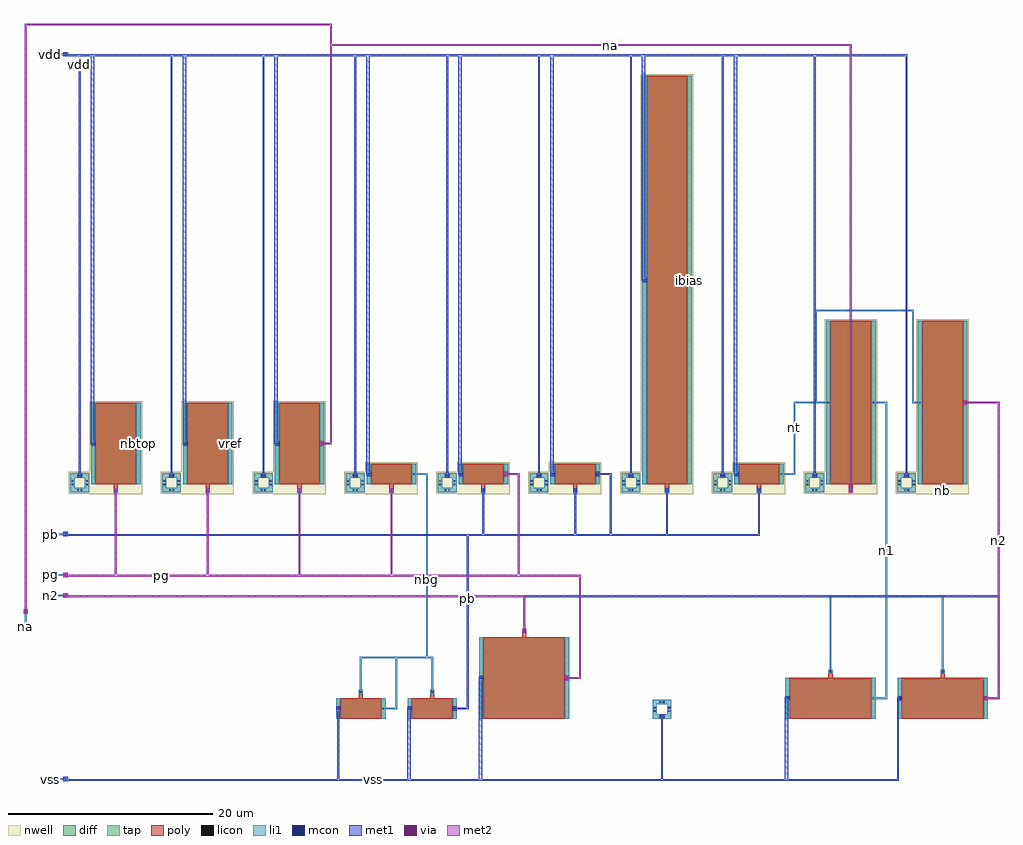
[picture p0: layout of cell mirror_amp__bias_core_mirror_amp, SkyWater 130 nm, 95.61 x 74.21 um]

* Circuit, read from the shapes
.subckt mirror_amp__bias_core_mirror_amp ibias n1 n2 na nb nbg nbtop nt pb pg vdd vref vss
XM1 nbg nbg vss vss sky130_fd_pr__nfet_01v8 w=2 l=4
XM2 pb nbg vss vss sky130_fd_pr__nfet_01v8 w=2 l=4
XM3 pg n2 vss vss sky130_fd_pr__nfet_01v8 w=8 l=8
XM4 n1 n1 vss vss sky130_fd_pr__nfet_01v8 w=4 l=8
XM5 n2 n1 vss vss sky130_fd_pr__nfet_01v8 w=4 l=8
XM6 nbtop pg vdd vdd sky130_fd_pr__pfet_01v8 w=8 l=4
XM7 vref pg vdd vdd sky130_fd_pr__pfet_01v8 w=8 l=4
XM8 na pg vdd vdd sky130_fd_pr__pfet_01v8 w=8 l=4
XM9 nbg pg vdd vdd sky130_fd_pr__pfet_01v8 w=2 l=4
XM10 pg pb vdd vdd sky130_fd_pr__pfet_01v8 w=2 l=4
XM11 pb pb vdd vdd sky130_fd_pr__pfet_01v8 w=2 l=4
XM12 ibias pb vdd vdd sky130_fd_pr__pfet_01v8 w=40 l=4
XM13 nt pb vdd vdd sky130_fd_pr__pfet_01v8 w=2 l=4
XM14 n1 na nt vdd sky130_fd_pr__pfet_01v8 w=16 l=4
XM15 n2 nb nt vdd sky130_fd_pr__pfet_01v8 w=16 l=4
.ends

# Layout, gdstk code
import gdstk
lib = gdstk.Library(unit=1e-6, precision=1e-09)
def R(c, l, rs):  # rectangles x0, y0, x1, y1
    for r in rs: c.add(gdstk.rectangle(r[:2], r[2:], *l))
def A(c, l, x, y, w, h, nx, ny, dx, dy):  # array of equal rectangles
    R(c, l, [(x+i*dx, y+j*dy, x+i*dx+w, y+j*dy+h) for i in range(nx) for j in range(ny)])
def P(c, l, *ps):  # polygons
    for p in ps: c.add(gdstk.Polygon(p, *l))
nwell = (64, 20)
diff = (65, 20)
tap = (65, 44)
poly = (66, 20)
licon = (66, 44)
li1 = (67, 20)
mcon = (67, 44)
met1 = (68, 20)
via = (68, 44)
met2 = (69, 20)

stub_na__promo_stub_v = lib.new_cell('stub_na__promo_stub_v')
R(stub_na__promo_stub_v, li1, [(0,0,0.17,1.5)])

stub_n2__promo_stub = lib.new_cell('stub_n2__promo_stub')
R(stub_n2__promo_stub, li1, [(0,0,1.5,0.17)])

stub_pb__promo_stub = lib.new_cell('stub_pb__promo_stub')
R(stub_pb__promo_stub, li1, [(0,0,1.5,0.17)])

stub_pg__promo_stub = lib.new_cell('stub_pg__promo_stub')
R(stub_pg__promo_stub, li1, [(0,0,1.5,0.17)])

stub_vss__promo_stub = lib.new_cell('stub_vss__promo_stub')
R(stub_vss__promo_stub, li1, [(0,0,1.5,0.17)])

stub_vdd__promo_stub = lib.new_cell('stub_vdd__promo_stub')
R(stub_vdd__promo_stub, li1, [(0,0,1.5,0.17)])

guard_ring_10 = lib.new_cell('guard_ring$10')
P(guard_ring_10, tap, [(0,0),(0,1.42),(0.42,1.42),(0.42,0.42),(1.42,0.42),(1.42,1.42),(0,1.42),(0,1.84),(1.84,1.84),(1.84,0)])
R(guard_ring_10, licon, [(0.67,0.125,0.84,0.295), (1,0.125,1.17,0.295), (0.125,0.67,0.295,0.84), (1.545,0.67,1.715,0.84), (0.125,1,0.295,1.17), (1.545,1,1.715,1.17), (0.67,1.545,0.84,1.715), (1,1.545,1.17,1.715)])
P(guard_ring_10, li1, [(0,0),(0,1.42),(0.42,1.42),(0.42,0.42),(1.42,0.42),(1.42,1.42),(0,1.42),(0,1.84),(1.84,1.84),(1.84,0)])

pst__pst = lib.new_cell('pst__pst')
pst__pst.add(gdstk.Reference(guard_ring_10, (0,0)))

guard_ring_9 = lib.new_cell('guard_ring$9')
R(guard_ring_9, nwell, [(-0.15,-0.15,1.99,1.99)])
P(guard_ring_9, tap, [(0,0),(0,1.42),(0.42,1.42),(0.42,0.42),(1.42,0.42),(1.42,1.42),(0,1.42),(0,1.84),(1.84,1.84),(1.84,0)])
R(guard_ring_9, licon, [(0.67,0.125,0.84,0.295), (1,0.125,1.17,0.295), (0.125,0.67,0.295,0.84), (1.545,0.67,1.715,0.84), (0.125,1,0.295,1.17), (1.545,1,1.715,1.17), (0.67,1.545,0.84,1.715), (1,1.545,1.17,1.715)])
P(guard_ring_9, li1, [(0,0),(0,1.42),(0.42,1.42),(0.42,0.42),(1.42,0.42),(1.42,1.42),(0,1.42),(0,1.84),(1.84,1.84),(1.84,0)])

nwt_mi2__nwt_mi2 = lib.new_cell('nwt_mi2__nwt_mi2')
nwt_mi2__nwt_mi2.add(gdstk.Reference(guard_ring_9, (0,0)))

guard_ring_8 = lib.new_cell('guard_ring$8')
R(guard_ring_8, nwell, [(-0.15,-0.15,1.99,1.99)])
P(guard_ring_8, tap, [(0,0),(0,1.42),(0.42,1.42),(0.42,0.42),(1.42,0.42),(1.42,1.42),(0,1.42),(0,1.84),(1.84,1.84),(1.84,0)])
R(guard_ring_8, licon, [(0.67,0.125,0.84,0.295), (1,0.125,1.17,0.295), (0.125,0.67,0.295,0.84), (1.545,0.67,1.715,0.84), (0.125,1,0.295,1.17), (1.545,1,1.715,1.17), (0.67,1.545,0.84,1.715), (1,1.545,1.17,1.715)])
P(guard_ring_8, li1, [(0,0),(0,1.42),(0.42,1.42),(0.42,0.42),(1.42,0.42),(1.42,1.42),(0,1.42),(0,1.84),(1.84,1.84),(1.84,0)])

nwt_mi1__nwt_mi1 = lib.new_cell('nwt_mi1__nwt_mi1')
nwt_mi1__nwt_mi1.add(gdstk.Reference(guard_ring_8, (0,0)))

guard_ring_7 = lib.new_cell('guard_ring$7')
R(guard_ring_7, nwell, [(-0.15,-0.15,1.99,1.99)])
P(guard_ring_7, tap, [(0,0),(0,1.42),(0.42,1.42),(0.42,0.42),(1.42,0.42),(1.42,1.42),(0,1.42),(0,1.84),(1.84,1.84),(1.84,0)])
R(guard_ring_7, licon, [(0.67,0.125,0.84,0.295), (1,0.125,1.17,0.295), (0.125,0.67,0.295,0.84), (1.545,0.67,1.715,0.84), (0.125,1,0.295,1.17), (1.545,1,1.715,1.17), (0.67,1.545,0.84,1.715), (1,1.545,1.17,1.715)])
P(guard_ring_7, li1, [(0,0),(0,1.42),(0.42,1.42),(0.42,0.42),(1.42,0.42),(1.42,1.42),(0,1.42),(0,1.84),(1.84,1.84),(1.84,0)])

nwt_mpt__nwt_mpt = lib.new_cell('nwt_mpt__nwt_mpt')
nwt_mpt__nwt_mpt.add(gdstk.Reference(guard_ring_7, (0,0)))

guard_ring_6 = lib.new_cell('guard_ring$6')
R(guard_ring_6, nwell, [(-0.15,-0.15,1.99,1.99)])
P(guard_ring_6, tap, [(0,0),(0,1.42),(0.42,1.42),(0.42,0.42),(1.42,0.42),(1.42,1.42),(0,1.42),(0,1.84),(1.84,1.84),(1.84,0)])
R(guard_ring_6, licon, [(0.67,0.125,0.84,0.295), (1,0.125,1.17,0.295), (0.125,0.67,0.295,0.84), (1.545,0.67,1.715,0.84), (0.125,1,0.295,1.17), (1.545,1,1.715,1.17), (0.67,1.545,0.84,1.715), (1,1.545,1.17,1.715)])
P(guard_ring_6, li1, [(0,0),(0,1.42),(0.42,1.42),(0.42,0.42),(1.42,0.42),(1.42,1.42),(0,1.42),(0,1.84),(1.84,1.84),(1.84,0)])

nwt_mpib__nwt_mpib = lib.new_cell('nwt_mpib__nwt_mpib')
nwt_mpib__nwt_mpib.add(gdstk.Reference(guard_ring_6, (0,0)))

guard_ring_5 = lib.new_cell('guard_ring$5')
R(guard_ring_5, nwell, [(-0.15,-0.15,1.99,1.99)])
P(guard_ring_5, tap, [(0,0),(0,1.42),(0.42,1.42),(0.42,0.42),(1.42,0.42),(1.42,1.42),(0,1.42),(0,1.84),(1.84,1.84),(1.84,0)])
R(guard_ring_5, licon, [(0.67,0.125,0.84,0.295), (1,0.125,1.17,0.295), (0.125,0.67,0.295,0.84), (1.545,0.67,1.715,0.84), (0.125,1,0.295,1.17), (1.545,1,1.715,1.17), (0.67,1.545,0.84,1.715), (1,1.545,1.17,1.715)])
P(guard_ring_5, li1, [(0,0),(0,1.42),(0.42,1.42),(0.42,0.42),(1.42,0.42),(1.42,1.42),(0,1.42),(0,1.84),(1.84,1.84),(1.84,0)])

nwt_mbp__nwt_mbp = lib.new_cell('nwt_mbp__nwt_mbp')
nwt_mbp__nwt_mbp.add(gdstk.Reference(guard_ring_5, (0,0)))

guard_ring_4 = lib.new_cell('guard_ring$4')
R(guard_ring_4, nwell, [(-0.15,-0.15,1.99,1.99)])
P(guard_ring_4, tap, [(0,0),(0,1.42),(0.42,1.42),(0.42,0.42),(1.42,0.42),(1.42,1.42),(0,1.42),(0,1.84),(1.84,1.84),(1.84,0)])
R(guard_ring_4, licon, [(0.67,0.125,0.84,0.295), (1,0.125,1.17,0.295), (0.125,0.67,0.295,0.84), (1.545,0.67,1.715,0.84), (0.125,1,0.295,1.17), (1.545,1,1.715,1.17), (0.67,1.545,0.84,1.715), (1,1.545,1.17,1.715)])
P(guard_ring_4, li1, [(0,0),(0,1.42),(0.42,1.42),(0.42,0.42),(1.42,0.42),(1.42,1.42),(0,1.42),(0,1.84),(1.84,1.84),(1.84,0)])

nwt_ms2p__nwt_ms2p = lib.new_cell('nwt_ms2p__nwt_ms2p')
nwt_ms2p__nwt_ms2p.add(gdstk.Reference(guard_ring_4, (0,0)))

guard_ring_3 = lib.new_cell('guard_ring$3')
R(guard_ring_3, nwell, [(-0.15,-0.15,1.99,1.99)])
P(guard_ring_3, tap, [(0,0),(0,1.42),(0.42,1.42),(0.42,0.42),(1.42,0.42),(1.42,1.42),(0,1.42),(0,1.84),(1.84,1.84),(1.84,0)])
R(guard_ring_3, licon, [(0.67,0.125,0.84,0.295), (1,0.125,1.17,0.295), (0.125,0.67,0.295,0.84), (1.545,0.67,1.715,0.84), (0.125,1,0.295,1.17), (1.545,1,1.715,1.17), (0.67,1.545,0.84,1.715), (1,1.545,1.17,1.715)])
P(guard_ring_3, li1, [(0,0),(0,1.42),(0.42,1.42),(0.42,0.42),(1.42,0.42),(1.42,1.42),(0,1.42),(0,1.84),(1.84,1.84),(1.84,0)])

nwt_mpbn__nwt_mpbn = lib.new_cell('nwt_mpbn__nwt_mpbn')
nwt_mpbn__nwt_mpbn.add(gdstk.Reference(guard_ring_3, (0,0)))

guard_ring_2 = lib.new_cell('guard_ring$2')
R(guard_ring_2, nwell, [(-0.15,-0.15,1.99,1.99)])
P(guard_ring_2, tap, [(0,0),(0,1.42),(0.42,1.42),(0.42,0.42),(1.42,0.42),(1.42,1.42),(0,1.42),(0,1.84),(1.84,1.84),(1.84,0)])
R(guard_ring_2, licon, [(0.67,0.125,0.84,0.295), (1,0.125,1.17,0.295), (0.125,0.67,0.295,0.84), (1.545,0.67,1.715,0.84), (0.125,1,0.295,1.17), (1.545,1,1.715,1.17), (0.67,1.545,0.84,1.715), (1,1.545,1.17,1.715)])
P(guard_ring_2, li1, [(0,0),(0,1.42),(0.42,1.42),(0.42,0.42),(1.42,0.42),(1.42,1.42),(0,1.42),(0,1.84),(1.84,1.84),(1.84,0)])

nwt_mp1__nwt_mp1 = lib.new_cell('nwt_mp1__nwt_mp1')
nwt_mp1__nwt_mp1.add(gdstk.Reference(guard_ring_2, (0,0)))

guard_ring_1 = lib.new_cell('guard_ring$1')
R(guard_ring_1, nwell, [(-0.15,-0.15,1.99,1.99)])
P(guard_ring_1, tap, [(0,0),(0,1.42),(0.42,1.42),(0.42,0.42),(1.42,0.42),(1.42,1.42),(0,1.42),(0,1.84),(1.84,1.84),(1.84,0)])
R(guard_ring_1, licon, [(0.67,0.125,0.84,0.295), (1,0.125,1.17,0.295), (0.125,0.67,0.295,0.84), (1.545,0.67,1.715,0.84), (0.125,1,0.295,1.17), (1.545,1,1.715,1.17), (0.67,1.545,0.84,1.715), (1,1.545,1.17,1.715)])
P(guard_ring_1, li1, [(0,0),(0,1.42),(0.42,1.42),(0.42,0.42),(1.42,0.42),(1.42,1.42),(0,1.42),(0,1.84),(1.84,1.84),(1.84,0)])

nwt_mp3__nwt_mp3 = lib.new_cell('nwt_mp3__nwt_mp3')
nwt_mp3__nwt_mp3.add(gdstk.Reference(guard_ring_1, (0,0)))

guard_ring = lib.new_cell('guard_ring')
R(guard_ring, nwell, [(-0.15,-0.15,1.99,1.99)])
P(guard_ring, tap, [(0,0),(0,1.42),(0.42,1.42),(0.42,0.42),(1.42,0.42),(1.42,1.42),(0,1.42),(0,1.84),(1.84,1.84),(1.84,0)])
R(guard_ring, licon, [(0.67,0.125,0.84,0.295), (1,0.125,1.17,0.295), (0.125,0.67,0.295,0.84), (1.545,0.67,1.715,0.84), (0.125,1,0.295,1.17), (1.545,1,1.715,1.17), (0.67,1.545,0.84,1.715), (1,1.545,1.17,1.715)])
P(guard_ring, li1, [(0,0),(0,1.42),(0.42,1.42),(0.42,0.42),(1.42,0.42),(1.42,1.42),(0,1.42),(0,1.84),(1.84,1.84),(1.84,0)])

nwt_mp2__nwt_mp2 = lib.new_cell('nwt_mp2__nwt_mp2')
nwt_mp2__nwt_mp2.add(gdstk.Reference(guard_ring, (0,0)))

mos_array_14 = lib.new_cell('mos_array$14')
R(mos_array_14, diff, [(0,0,8.84,4)])
R(mos_array_14, poly, [(0.42,0,8.42,4), (4.21,4,4.63,4.82)])
R(mos_array_14, licon, [(0.125,1.915,0.295,2.085), (8.545,1.915,8.715,2.085), (4.335,4.525,4.505,4.695)])
R(mos_array_14, li1, [(0,0,0.42,4), (8.42,0,8.84,4), (4.21,4.4,4.63,4.82)])

ml2__ml2_nfet = lib.new_cell('ml2__ml2_nfet')
ml2__ml2_nfet.add(gdstk.Reference(mos_array_14, (0,0)))

mos_array_13 = lib.new_cell('mos_array$13')
R(mos_array_13, diff, [(0,0,8.84,4)])
R(mos_array_13, poly, [(0.42,0,8.42,4), (4.21,4,4.63,4.82)])
R(mos_array_13, licon, [(0.125,1.915,0.295,2.085), (8.545,1.915,8.715,2.085), (4.335,4.525,4.505,4.695)])
R(mos_array_13, li1, [(0,0,0.42,4), (8.42,0,8.84,4), (4.21,4.4,4.63,4.82)])

ml1__ml1_nfet = lib.new_cell('ml1__ml1_nfet')
ml1__ml1_nfet.add(gdstk.Reference(mos_array_13, (0,0)))

mos_array_12 = lib.new_cell('mos_array$12')
R(mos_array_12, diff, [(0,0,8.84,8)])
R(mos_array_12, poly, [(0.42,0,8.42,8), (4.21,8,4.63,8.82)])
R(mos_array_12, licon, [(0.125,3.915,0.295,4.085), (8.545,3.915,8.715,4.085), (4.335,8.525,4.505,8.695)])
R(mos_array_12, li1, [(0,0,0.42,8), (8.42,0,8.84,8), (4.21,8.4,4.63,8.82)])

ms2n__ms2n_nfet = lib.new_cell('ms2n__ms2n_nfet')
ms2n__ms2n_nfet.add(gdstk.Reference(mos_array_12, (0,0)))

mos_array_11 = lib.new_cell('mos_array$11')
R(mos_array_11, diff, [(0,0,4.84,2)])
R(mos_array_11, poly, [(0.42,0,4.42,2), (2.21,2,2.63,2.82)])
R(mos_array_11, licon, [(0.125,0.915,0.295,1.085), (4.545,0.915,4.715,1.085), (2.335,2.525,2.505,2.695)])
R(mos_array_11, li1, [(0,0,0.42,2), (4.42,0,4.84,2), (2.21,2.4,2.63,2.82)])

mbn2__mbn2_nfet = lib.new_cell('mbn2__mbn2_nfet')
mbn2__mbn2_nfet.add(gdstk.Reference(mos_array_11, (0,0)))

mos_array_10 = lib.new_cell('mos_array$10')
R(mos_array_10, diff, [(0,0,4.84,2)])
R(mos_array_10, poly, [(0.42,0,4.42,2), (2.21,2,2.63,2.82)])
R(mos_array_10, licon, [(0.125,0.915,0.295,1.085), (4.545,0.915,4.715,1.085), (2.335,2.525,2.505,2.695)])
R(mos_array_10, li1, [(0,0,0.42,2), (4.42,0,4.84,2), (2.21,2.4,2.63,2.82)])

mbn__mbn_nfet = lib.new_cell('mbn__mbn_nfet')
mbn__mbn_nfet.add(gdstk.Reference(mos_array_10, (0,0)))

mos_array_9 = lib.new_cell('mos_array$9')
R(mos_array_9, nwell, [(-0.15,-0.15,4.99,16.97)])
R(mos_array_9, diff, [(0,0,4.84,16)])
R(mos_array_9, poly, [(0.42,0,4.42,16), (2.21,16,2.63,16.82)])
R(mos_array_9, licon, [(0.125,7.915,0.295,8.085), (4.545,7.915,4.715,8.085), (2.335,16.525,2.505,16.695)])
R(mos_array_9, li1, [(0,0,0.42,16), (4.42,0,4.84,16), (2.21,16.4,2.63,16.82)])

mi2__mi2_pfet = lib.new_cell('mi2__mi2_pfet')
mi2__mi2_pfet.add(gdstk.Reference(mos_array_9, (0,0)))

mos_array_8 = lib.new_cell('mos_array$8')
R(mos_array_8, nwell, [(-0.15,-0.15,4.99,16.97)])
R(mos_array_8, diff, [(0,0,4.84,16)])
R(mos_array_8, poly, [(0.42,0,4.42,16), (2.21,16,2.63,16.82)])
R(mos_array_8, licon, [(0.125,7.915,0.295,8.085), (4.545,7.915,4.715,8.085), (2.335,16.525,2.505,16.695)])
R(mos_array_8, li1, [(0,0,0.42,16), (4.42,0,4.84,16), (2.21,16.4,2.63,16.82)])

mi1__mi1_pfet = lib.new_cell('mi1__mi1_pfet')
mi1__mi1_pfet.add(gdstk.Reference(mos_array_8, (0,0)))

mos_array_7 = lib.new_cell('mos_array$7')
R(mos_array_7, nwell, [(-0.15,-0.15,4.99,2.97)])
R(mos_array_7, diff, [(0,0,4.84,2)])
R(mos_array_7, poly, [(0.42,0,4.42,2), (2.21,2,2.63,2.82)])
R(mos_array_7, licon, [(0.125,0.915,0.295,1.085), (4.545,0.915,4.715,1.085), (2.335,2.525,2.505,2.695)])
R(mos_array_7, li1, [(0,0,0.42,2), (4.42,0,4.84,2), (2.21,2.4,2.63,2.82)])

mpt__mpt_pfet = lib.new_cell('mpt__mpt_pfet')
mpt__mpt_pfet.add(gdstk.Reference(mos_array_7, (0,0)))

mos_array_6 = lib.new_cell('mos_array$6')
R(mos_array_6, nwell, [(-0.15,-0.15,4.99,40.97)])
R(mos_array_6, diff, [(0,0,4.84,40)])
R(mos_array_6, poly, [(0.42,0,4.42,40), (2.21,40,2.63,40.82)])
R(mos_array_6, licon, [(0.125,19.915,0.295,20.085), (4.545,19.915,4.715,20.085), (2.335,40.525,2.505,40.695)])
R(mos_array_6, li1, [(0,0,0.42,40), (4.42,0,4.84,40), (2.21,40.4,2.63,40.82)])

mpib__mpib_pfet = lib.new_cell('mpib__mpib_pfet')
mpib__mpib_pfet.add(gdstk.Reference(mos_array_6, (0,0)))

mos_array_5 = lib.new_cell('mos_array$5')
R(mos_array_5, nwell, [(-0.15,-0.15,4.99,2.97)])
R(mos_array_5, diff, [(0,0,4.84,2)])
R(mos_array_5, poly, [(0.42,0,4.42,2), (2.21,2,2.63,2.82)])
R(mos_array_5, licon, [(0.125,0.915,0.295,1.085), (4.545,0.915,4.715,1.085), (2.335,2.525,2.505,2.695)])
R(mos_array_5, li1, [(0,0,0.42,2), (4.42,0,4.84,2), (2.21,2.4,2.63,2.82)])

mbp__mbp_pfet = lib.new_cell('mbp__mbp_pfet')
mbp__mbp_pfet.add(gdstk.Reference(mos_array_5, (0,0)))

mos_array_4 = lib.new_cell('mos_array$4')
R(mos_array_4, nwell, [(-0.15,-0.15,4.99,2.97)])
R(mos_array_4, diff, [(0,0,4.84,2)])
R(mos_array_4, poly, [(0.42,0,4.42,2), (2.21,2,2.63,2.82)])
R(mos_array_4, licon, [(0.125,0.915,0.295,1.085), (4.545,0.915,4.715,1.085), (2.335,2.525,2.505,2.695)])
R(mos_array_4, li1, [(0,0,0.42,2), (4.42,0,4.84,2), (2.21,2.4,2.63,2.82)])

ms2p__ms2p_pfet = lib.new_cell('ms2p__ms2p_pfet')
ms2p__ms2p_pfet.add(gdstk.Reference(mos_array_4, (0,0)))

mos_array_3 = lib.new_cell('mos_array$3')
R(mos_array_3, nwell, [(-0.15,-0.15,4.99,2.97)])
R(mos_array_3, diff, [(0,0,4.84,2)])
R(mos_array_3, poly, [(0.42,0,4.42,2), (2.21,2,2.63,2.82)])
R(mos_array_3, licon, [(0.125,0.915,0.295,1.085), (4.545,0.915,4.715,1.085), (2.335,2.525,2.505,2.695)])
R(mos_array_3, li1, [(0,0,0.42,2), (4.42,0,4.84,2), (2.21,2.4,2.63,2.82)])

mpbn__mpbn_pfet = lib.new_cell('mpbn__mpbn_pfet')
mpbn__mpbn_pfet.add(gdstk.Reference(mos_array_3, (0,0)))

mos_array_2 = lib.new_cell('mos_array$2')
R(mos_array_2, nwell, [(-0.15,-0.15,4.99,8.97)])
R(mos_array_2, diff, [(0,0,4.84,8)])
R(mos_array_2, poly, [(0.42,0,4.42,8), (2.21,8,2.63,8.82)])
R(mos_array_2, licon, [(0.125,3.915,0.295,4.085), (4.545,3.915,4.715,4.085), (2.335,8.525,2.505,8.695)])
R(mos_array_2, li1, [(0,0,0.42,8), (4.42,0,4.84,8), (2.21,8.4,2.63,8.82)])

mp1__mp1_pfet = lib.new_cell('mp1__mp1_pfet')
mp1__mp1_pfet.add(gdstk.Reference(mos_array_2, (0,0)))

mos_array_1 = lib.new_cell('mos_array$1')
R(mos_array_1, nwell, [(-0.15,-0.15,4.99,8.97)])
R(mos_array_1, diff, [(0,0,4.84,8)])
R(mos_array_1, poly, [(0.42,0,4.42,8), (2.21,8,2.63,8.82)])
R(mos_array_1, licon, [(0.125,3.915,0.295,4.085), (4.545,3.915,4.715,4.085), (2.335,8.525,2.505,8.695)])
R(mos_array_1, li1, [(0,0,0.42,8), (4.42,0,4.84,8), (2.21,8.4,2.63,8.82)])

mp3__mp3_pfet = lib.new_cell('mp3__mp3_pfet')
mp3__mp3_pfet.add(gdstk.Reference(mos_array_1, (0,0)))

mos_array = lib.new_cell('mos_array')
R(mos_array, nwell, [(-0.15,-0.15,4.99,8.97)])
R(mos_array, diff, [(0,0,4.84,8)])
R(mos_array, poly, [(0.42,0,4.42,8), (2.21,8,2.63,8.82)])
R(mos_array, licon, [(0.125,3.915,0.295,4.085), (4.545,3.915,4.715,4.085), (2.335,8.525,2.505,8.695)])
R(mos_array, li1, [(0,0,0.42,8), (4.42,0,4.84,8), (2.21,8.4,2.63,8.82)])

mp2__mp2_pfet = lib.new_cell('mp2__mp2_pfet')
mp2__mp2_pfet.add(gdstk.Reference(mos_array, (0,0)))

mirror_amp__bias_core_mi = lib.new_cell('mirror_amp__bias_core_mirror_amp')
A(mirror_amp__bias_core_mi, li1, 56.21, 22.15, 0.42, 0.42, 3, 1, 9, 0)
R(mirror_amp__bias_core_mi, li1, [(-2.71,-6.125,-2.29,-5.705), (55.71,0,56.13,0.42), (55.71,0,56.13,0.42), (24,0.79,24.42,1.21), (24,0.79,24.42,1.21), (31,0.79,31.42,1.21), (31,0.79,31.42,1.21), (35.42,0.79,35.84,1.21), (35.42,0.79,35.84,1.21), (68,1.79,68.42,2.21), (68,1.79,68.42,2.21), (79,1.79,79.42,2.21), (87.42,1.79,87.84,2.21), (87.42,1.79,87.84,2.21), (26.21,2.61,26.63,2.78), (26.21,2.61,26.63,2.78), (33.21,2.61,33.63,2.78), (33.21,2.61,33.63,2.78), (38,3.79,38.42,4.21), (38,3.79,38.42,4.21), (46.42,3.79,46.84,4.21), (72.21,4.61,72.63,4.78), (72.21,4.61,72.63,4.78), (83.21,4.61,83.63,4.78), (42.21,8.4,42.63,8.82), (42.21,8.4,42.63,8.82), (-6.625,10.29,-6.205,10.71), (-2.71,11.875,-2.29,12.295), (-2.71,13.875,-2.29,14.295), (-2.71,17.875,-2.29,18.295), (2.21,22.15,2.63,22.57), (2.21,22.15,2.63,22.57), (11.21,22.15,11.63,22.57), (11.21,22.15,11.63,22.57), (20.21,22.15,20.63,22.57), (20.21,22.15,20.63,22.57), (29.21,22.15,29.63,22.57), (29.21,22.15,29.63,22.57), (29.21,22.15,29.63,22.57), (38.21,22.15,38.63,22.57), (38.21,22.15,38.63,22.57), (47.21,22.15,47.63,22.57), (47.21,22.15,47.63,22.57), (47.21,22.15,47.63,22.57), (56.21,22.15,56.63,22.57), (-1.33,23.62,-0.91,24.04), (-1.33,23.62,-0.91,24.04), (7.67,23.62,8.09,24.04), (7.67,23.62,8.09,24.04), (16.67,23.62,17.09,24.04), (16.67,23.62,17.09,24.04), (25.67,23.62,26.09,24.04), (25.67,23.62,26.09,24.04), (34.67,23.62,35.09,24.04), (34.67,23.62,35.09,24.04), (43.67,23.62,44.09,24.04), (43.67,23.62,44.09,24.04), (52.67,23.62,53.09,24.04), (52.67,23.62,53.09,24.04), (61.67,23.62,62.09,24.04), (61.67,23.62,62.09,24.04), (70.67,23.62,71.09,24.04), (70.67,23.62,71.09,24.04), (79.67,23.62,80.09,24.04), (27,23.76,27.42,24.18), (27,23.76,27.42,24.18), (36,23.76,36.42,24.18), (36,23.76,36.42,24.18), (40.42,23.76,40.84,24.18), (45,23.76,45.42,24.18), (45,23.76,45.42,24.18), (49.42,23.76,49.84,24.18), (63,23.76,63.42,24.18), (63,23.76,63.42,24.18), (0,26.76,0.42,27.18), (0,26.76,0.42,27.18), (9,26.76,9.42,27.18), (9,26.76,9.42,27.18), (18,26.76,18.42,27.18), (18,26.76,18.42,27.18), (22.42,26.76,22.84,27.18), (22.42,26.76,22.84,27.18), (85.42,30.76,85.84,31.18), (54,42.76,54.42,43.18), (54,42.76,54.42,43.18), (-2.71,64.875,-2.29,65.295)])
A(mirror_amp__bias_core_mi, mcon, 56.335, 22.275, 0.17, 0.17, 3, 1, 9, 0)
R(mirror_amp__bias_core_mi, mcon, [(-2.585,-6,-2.415,-5.83), (55.835,0.125,56.005,0.295), (55.835,0.125,56.005,0.295), (24.125,0.915,24.295,1.085), (24.125,0.915,24.295,1.085), (31.125,0.915,31.295,1.085), (31.125,0.915,31.295,1.085), (35.545,0.915,35.715,1.085), (35.545,0.915,35.715,1.085), (68.125,1.915,68.295,2.085), (68.125,1.915,68.295,2.085), (79.125,1.915,79.295,2.085), (87.545,1.915,87.715,2.085), (87.545,1.915,87.715,2.085), (38.125,3.915,38.295,4.085), (38.125,3.915,38.295,4.085), (46.545,3.915,46.715,4.085), (42.335,8.525,42.505,8.695), (42.335,8.525,42.505,8.695), (-6.5,10.415,-6.33,10.585), (-2.585,12,-2.415,12.17), (-2.585,14,-2.415,14.17), (-2.585,18,-2.415,18.17), (2.335,22.275,2.505,22.445), (2.335,22.275,2.505,22.445), (11.335,22.275,11.505,22.445), (11.335,22.275,11.505,22.445), (20.335,22.275,20.505,22.445), (20.335,22.275,20.505,22.445), (29.335,22.275,29.505,22.445), (29.335,22.275,29.505,22.445), (29.335,22.275,29.505,22.445), (38.335,22.275,38.505,22.445), (38.335,22.275,38.505,22.445), (47.335,22.275,47.505,22.445), (47.335,22.275,47.505,22.445), (47.335,22.275,47.505,22.445), (56.335,22.275,56.505,22.445), (-1.205,23.745,-1.035,23.915), (-1.205,23.745,-1.035,23.915), (7.795,23.745,7.965,23.915), (7.795,23.745,7.965,23.915), (16.795,23.745,16.965,23.915), (16.795,23.745,16.965,23.915), (25.795,23.745,25.965,23.915), (25.795,23.745,25.965,23.915), (34.795,23.745,34.965,23.915), (34.795,23.745,34.965,23.915), (43.795,23.745,43.965,23.915), (43.795,23.745,43.965,23.915), (52.795,23.745,52.965,23.915), (52.795,23.745,52.965,23.915), (61.795,23.745,61.965,23.915), (61.795,23.745,61.965,23.915), (70.795,23.745,70.965,23.915), (70.795,23.745,70.965,23.915), (79.795,23.745,79.965,23.915), (27.125,23.885,27.295,24.055), (27.125,23.885,27.295,24.055), (36.125,23.885,36.295,24.055), (36.125,23.885,36.295,24.055), (40.545,23.885,40.715,24.055), (45.125,23.885,45.295,24.055), (45.125,23.885,45.295,24.055), (49.545,23.885,49.715,24.055), (63.125,23.885,63.295,24.055), (63.125,23.885,63.295,24.055), (0.125,26.885,0.295,27.055), (0.125,26.885,0.295,27.055), (9.125,26.885,9.295,27.055), (9.125,26.885,9.295,27.055), (18.125,26.885,18.295,27.055), (18.125,26.885,18.295,27.055), (22.545,26.885,22.715,27.055), (22.545,26.885,22.715,27.055), (85.545,30.885,85.715,31.055), (54.125,42.885,54.295,43.055), (54.125,42.885,54.295,43.055), (-2.585,65,-2.415,65.17)])
A(mirror_amp__bias_core_mi, met1, 56.21, 22.15, 0.42, 0.42, 3, 1, 9, 0)
R(mirror_amp__bias_core_mi, met1, [(-2.71,-6.125,-2.29,-5.705), (55.71,0,56.13,0.42), (55.71,0,56.13,0.42), (24,0.79,24.42,1.21), (24,0.79,24.42,1.21), (31,0.79,31.42,1.21), (31,0.79,31.42,1.21), (35.42,0.79,35.84,1.21), (35.42,0.79,35.84,1.21), (68,1.79,68.42,2.21), (68,1.79,68.42,2.21), (79,1.79,79.42,2.21), (87.42,1.79,87.84,2.21), (87.42,1.79,87.84,2.21), (87.42,1.79,87.84,2.21), (38,3.79,38.42,4.21), (38,3.79,38.42,4.21), (46.42,3.79,46.84,4.21), (46.42,3.79,46.84,4.21), (42.21,8.4,42.63,8.82), (42.21,8.4,42.63,8.82), (42.21,8.4,42.63,8.82), (-6.625,10.29,-6.205,10.71), (-6.625,10.29,-6.205,10.71), (-2.71,11.875,-2.29,12.295), (-2.71,11.875,-2.29,12.295), (-2.71,13.875,-2.29,14.295), (-2.71,13.875,-2.29,14.295), (-2.71,17.875,-2.29,18.295), (2.21,22.15,2.63,22.57), (2.21,22.15,2.63,22.57), (2.21,22.15,2.63,22.57), (2.21,22.15,2.63,22.57), (11.21,22.15,11.63,22.57), (11.21,22.15,11.63,22.57), (11.21,22.15,11.63,22.57), (11.21,22.15,11.63,22.57), (20.21,22.15,20.63,22.57), (20.21,22.15,20.63,22.57), (20.21,22.15,20.63,22.57), (20.21,22.15,20.63,22.57), (29.21,22.15,29.63,22.57), (29.21,22.15,29.63,22.57), (29.21,22.15,29.63,22.57), (29.21,22.15,29.63,22.57), (29.21,22.15,29.63,22.57), (29.21,22.15,29.63,22.57), (38.21,22.15,38.63,22.57), (38.21,22.15,38.63,22.57), (47.21,22.15,47.63,22.57), (47.21,22.15,47.63,22.57), (47.21,22.15,47.63,22.57), (56.21,22.15,56.63,22.57), (74.21,22.15,74.63,22.57), (-1.33,23.62,-0.91,24.04), (-1.33,23.62,-0.91,24.04), (7.67,23.62,8.09,24.04), (7.67,23.62,8.09,24.04), (16.67,23.62,17.09,24.04), (16.67,23.62,17.09,24.04), (25.67,23.62,26.09,24.04), (25.67,23.62,26.09,24.04), (34.67,23.62,35.09,24.04), (34.67,23.62,35.09,24.04), (43.67,23.62,44.09,24.04), (43.67,23.62,44.09,24.04), (52.67,23.62,53.09,24.04), (52.67,23.62,53.09,24.04), (61.67,23.62,62.09,24.04), (61.67,23.62,62.09,24.04), (70.67,23.62,71.09,24.04), (70.67,23.62,71.09,24.04), (79.67,23.62,80.09,24.04), (27,23.76,27.42,24.18), (27,23.76,27.42,24.18), (36,23.76,36.42,24.18), (36,23.76,36.42,24.18), (40.42,23.76,40.84,24.18), (40.42,23.76,40.84,24.18), (45,23.76,45.42,24.18), (45,23.76,45.42,24.18), (49.42,23.76,49.84,24.18), (63,23.76,63.42,24.18), (63,23.76,63.42,24.18), (0,26.76,0.42,27.18), (0,26.76,0.42,27.18), (9,26.76,9.42,27.18), (9,26.76,9.42,27.18), (18,26.76,18.42,27.18), (18,26.76,18.42,27.18), (22.42,26.76,22.84,27.18), (22.42,26.76,22.84,27.18), (22.42,26.76,22.84,27.18), (22.42,26.76,22.84,27.18), (85.42,30.76,85.84,31.18), (85.42,30.76,85.84,31.18), (54,42.76,54.42,43.18), (54,42.76,54.42,43.18), (-2.71,64.875,-2.29,65.295)])
R(mirror_amp__bias_core_mi, via, [(87.555,1.925,87.705,2.075), (46.555,3.925,46.705,4.075), (42.345,8.535,42.495,8.685), (-6.49,10.425,-6.34,10.575), (-2.575,12.01,-2.425,12.16), (-2.575,14.01,-2.425,14.16), (2.345,22.285,2.495,22.435), (2.345,22.285,2.495,22.435), (11.345,22.285,11.495,22.435), (11.345,22.285,11.495,22.435), (20.345,22.285,20.495,22.435), (20.345,22.285,20.495,22.435), (29.345,22.285,29.495,22.435), (29.345,22.285,29.495,22.435), (29.345,22.285,29.495,22.435), (74.345,22.285,74.495,22.435), (40.555,23.895,40.705,24.045), (22.555,26.895,22.705,27.045), (22.555,26.895,22.705,27.045), (85.555,30.895,85.705,31.045)])
R(mirror_amp__bias_core_mi, met2, [(87.42,1.79,87.84,2.21), (46.42,3.79,46.84,4.21), (42.21,8.4,42.63,8.82), (-6.625,10.29,-6.205,10.71), (-2.71,11.875,-2.29,12.295), (-2.71,13.875,-2.29,14.295), (2.21,22.15,2.63,22.57), (2.21,22.15,2.63,22.57), (11.21,22.15,11.63,22.57), (11.21,22.15,11.63,22.57), (20.21,22.15,20.63,22.57), (20.21,22.15,20.63,22.57), (29.21,22.15,29.63,22.57), (29.21,22.15,29.63,22.57), (29.21,22.15,29.63,22.57), (74.21,22.15,74.63,22.57), (40.42,23.76,40.84,24.18), (22.42,26.76,22.84,27.18), (22.42,26.76,22.84,27.18), (85.42,30.76,85.84,31.18)])
mirror_amp__bias_core_mi.add(gdstk.FlexPath([(31.63,23.97),(32.9,23.97),(32.9,6),(33.42,6),(33.42,2.61)], 0.17, ends="flush", simple_path=True, layer=67, datatype=20))  # li1
mirror_amp__bias_core_mi.add(gdstk.FlexPath([(33.42,2.61),(33.42,6),(26.42,6),(26.42,2.61)], 0.17, ends="flush", simple_path=True, layer=67, datatype=20))  # li1
mirror_amp__bias_core_mi.add(gdstk.FlexPath([(26.42,2.61),(26.42,6),(29.9,6),(29.9,1),(28.63,1)], 0.17, ends="flush", simple_path=True, layer=67, datatype=20))  # li1
mirror_amp__bias_core_mi.add(gdstk.FlexPath([(67.63,23.97),(68.9,23.97),(68.9,30.97),(72.21,30.97)], 0.17, ends="flush", simple_path=True, layer=67, datatype=20))  # li1
mirror_amp__bias_core_mi.add(gdstk.FlexPath([(72.21,30.97),(71,30.97),(71,40),(80.5,40),(80.5,30.97),(81.21,30.97)], 0.17, ends="flush", simple_path=True, layer=67, datatype=20))  # li1
mirror_amp__bias_core_mi.add(gdstk.FlexPath([(76.63,30.97),(77.9,30.97),(77.9,2),(76.63,2)], 0.17, ends="flush", simple_path=True, layer=67, datatype=20))  # li1
mirror_amp__bias_core_mi.add(gdstk.FlexPath([(76.63,2),(77.9,2),(77.9,12),(72.42,12),(72.42,4.61)], 0.17, ends="flush", simple_path=True, layer=67, datatype=20))  # li1
mirror_amp__bias_core_mi.add(gdstk.FlexPath([(72.42,4.61),(72.42,12),(83.42,12),(83.42,4.61)], 0.17, ends="flush", simple_path=True, layer=67, datatype=20))  # li1
mirror_amp__bias_core_mi.add(gdstk.FlexPath([(-1.12,23.83),(-1.12,65),(0.04,65),(0.04,26.97),(0.21,26.97)], 0.17, ends="flush", simple_path=True, layer=68, datatype=20))  # met1
mirror_amp__bias_core_mi.add(gdstk.FlexPath([(0.21,26.97),(0.21,65),(7.88,65),(7.88,23.83)], 0.17, ends="flush", simple_path=True, layer=68, datatype=20))  # met1
mirror_amp__bias_core_mi.add(gdstk.FlexPath([(7.88,23.83),(7.88,65),(9.04,65),(9.04,26.97),(9.21,26.97)], 0.17, ends="flush", simple_path=True, layer=68, datatype=20))  # met1
mirror_amp__bias_core_mi.add(gdstk.FlexPath([(9.21,26.97),(9.21,65),(16.88,65),(16.88,23.83)], 0.17, ends="flush", simple_path=True, layer=68, datatype=20))  # met1
mirror_amp__bias_core_mi.add(gdstk.FlexPath([(16.88,23.83),(16.88,65),(18.04,65),(18.04,26.97),(18.21,26.97)], 0.17, ends="flush", simple_path=True, layer=68, datatype=20))  # met1
mirror_amp__bias_core_mi.add(gdstk.FlexPath([(18.21,26.97),(18.21,65),(25.88,65),(25.88,23.83)], 0.17, ends="flush", simple_path=True, layer=68, datatype=20))  # met1
mirror_amp__bias_core_mi.add(gdstk.FlexPath([(25.88,23.83),(25.88,65),(27.04,65),(27.04,23.97),(27.21,23.97)], 0.17, ends="flush", simple_path=True, layer=68, datatype=20))  # met1
mirror_amp__bias_core_mi.add(gdstk.FlexPath([(27.21,23.97),(27.21,65),(34.88,65),(34.88,23.83)], 0.17, ends="flush", simple_path=True, layer=68, datatype=20))  # met1
mirror_amp__bias_core_mi.add(gdstk.FlexPath([(34.88,23.83),(34.88,65),(36.04,65),(36.04,23.97),(36.21,23.97)], 0.17, ends="flush", simple_path=True, layer=68, datatype=20))  # met1
mirror_amp__bias_core_mi.add(gdstk.FlexPath([(36.21,23.97),(36.21,65),(43.88,65),(43.88,23.83)], 0.17, ends="flush", simple_path=True, layer=68, datatype=20))  # met1
mirror_amp__bias_core_mi.add(gdstk.FlexPath([(43.88,23.83),(43.88,65),(45.04,65),(45.04,23.97),(45.21,23.97)], 0.17, ends="flush", simple_path=True, layer=68, datatype=20))  # met1
mirror_amp__bias_core_mi.add(gdstk.FlexPath([(45.21,23.97),(45.21,65),(52.88,65),(52.88,23.83)], 0.17, ends="flush", simple_path=True, layer=68, datatype=20))  # met1
mirror_amp__bias_core_mi.add(gdstk.FlexPath([(52.88,23.83),(52.88,65),(54.04,65),(54.04,42.97),(54.21,42.97)], 0.17, ends="flush", simple_path=True, layer=68, datatype=20))  # met1
mirror_amp__bias_core_mi.add(gdstk.FlexPath([(54.21,42.97),(54.21,65),(61.88,65),(61.88,23.83)], 0.17, ends="flush", simple_path=True, layer=68, datatype=20))  # met1
mirror_amp__bias_core_mi.add(gdstk.FlexPath([(61.88,23.83),(61.88,65),(63.04,65),(63.04,23.97),(63.21,23.97)], 0.17, ends="flush", simple_path=True, layer=68, datatype=20))  # met1
mirror_amp__bias_core_mi.add(gdstk.FlexPath([(63.21,23.97),(63.21,65),(70.88,65),(70.88,23.83)], 0.17, ends="flush", simple_path=True, layer=68, datatype=20))  # met1
mirror_amp__bias_core_mi.add(gdstk.FlexPath([(70.88,23.83),(70.88,65),(79.88,65),(79.88,23.83)], 0.17, ends="flush", simple_path=True, layer=68, datatype=20))  # met1
mirror_amp__bias_core_mi.add(gdstk.FlexPath([(-1.12,23.83),(-1.12,65),(-2.33,65),(-2.33,65.085),(-2.5,65.085)], 0.17, ends="flush", simple_path=True, layer=68, datatype=20))  # met1
mirror_amp__bias_core_mi.add(gdstk.FlexPath([(24.21,1),(24.21,-6),(31.04,-6),(31.04,1),(31.21,1)], 0.17, ends="flush", simple_path=True, layer=68, datatype=20))  # met1
mirror_amp__bias_core_mi.add(gdstk.FlexPath([(31.21,1),(31.21,-6),(38.04,-6),(38.04,4),(38.21,4)], 0.17, ends="flush", simple_path=True, layer=68, datatype=20))  # met1
mirror_amp__bias_core_mi.add(gdstk.FlexPath([(38.21,4),(38.21,-6),(55.92,-6),(55.92,0.21)], 0.17, ends="flush", simple_path=True, layer=68, datatype=20))  # met1
mirror_amp__bias_core_mi.add(gdstk.FlexPath([(55.92,0.21),(55.92,-6),(68.04,-6),(68.04,2),(68.21,2)], 0.17, ends="flush", simple_path=True, layer=68, datatype=20))  # met1
mirror_amp__bias_core_mi.add(gdstk.FlexPath([(68.21,2),(68.21,-6),(79.04,-6),(79.04,2),(79.21,2)], 0.17, ends="flush", simple_path=True, layer=68, datatype=20))  # met1
mirror_amp__bias_core_mi.add(gdstk.FlexPath([(24.21,1),(24.21,-6),(-2.33,-6),(-2.33,-5.915),(-2.5,-5.915)], 0.17, ends="flush", simple_path=True, layer=68, datatype=20))  # met1
mirror_amp__bias_core_mi.add(gdstk.FlexPath([(35.63,1),(36.9,1),(36.9,18),(38.42,18),(38.42,22.36)], 0.17, ends="flush", simple_path=True, layer=68, datatype=20))  # met1
mirror_amp__bias_core_mi.add(gdstk.FlexPath([(38.42,22.36),(38.42,18),(47.42,18),(47.42,22.36)], 0.17, ends="flush", simple_path=True, layer=68, datatype=20))  # met1
mirror_amp__bias_core_mi.add(gdstk.FlexPath([(47.42,22.36),(47.42,18),(50.9,18),(50.9,23.97),(49.63,23.97)], 0.17, ends="flush", simple_path=True, layer=68, datatype=20))  # met1
mirror_amp__bias_core_mi.add(gdstk.FlexPath([(47.42,22.36),(47.42,18),(56.42,18),(56.42,22.36)], 0.17, ends="flush", simple_path=True, layer=68, datatype=20))  # met1
mirror_amp__bias_core_mi.add(gdstk.FlexPath([(56.42,22.36),(56.42,18),(65.42,18),(65.42,22.36)], 0.17, ends="flush", simple_path=True, layer=68, datatype=20))  # met1
mirror_amp__bias_core_mi.add(gdstk.FlexPath([(35.63,1),(36.9,1),(36.9,18),(-2.33,18),(-2.33,18.085),(-2.5,18.085)], 0.17, ends="flush", simple_path=True, layer=68, datatype=20))  # met1
mirror_amp__bias_core_mi.add(gdstk.FlexPath([(87.63,2),(88.9,2),(88.9,12),(42.42,12),(42.42,8.61)], 0.17, ends="flush", simple_path=True, layer=68, datatype=20))  # met1
mirror_amp__bias_core_mi.add(gdstk.FlexPath([(2.42,22.36),(2.42,14),(11.42,14),(11.42,22.36)], 0.17, ends="flush", simple_path=True, layer=69, datatype=20))  # met2
mirror_amp__bias_core_mi.add(gdstk.FlexPath([(11.42,22.36),(11.42,14),(20.42,14),(20.42,22.36)], 0.17, ends="flush", simple_path=True, layer=69, datatype=20))  # met2
mirror_amp__bias_core_mi.add(gdstk.FlexPath([(20.42,22.36),(20.42,14),(29.42,14),(29.42,22.36)], 0.17, ends="flush", simple_path=True, layer=69, datatype=20))  # met2
mirror_amp__bias_core_mi.add(gdstk.FlexPath([(29.42,22.36),(29.42,14),(41.9,14),(41.9,23.97),(40.63,23.97)], 0.17, ends="flush", simple_path=True, layer=69, datatype=20))  # met2
mirror_amp__bias_core_mi.add(gdstk.FlexPath([(29.42,22.36),(29.42,14),(47.9,14),(47.9,4),(46.63,4)], 0.17, ends="flush", simple_path=True, layer=69, datatype=20))  # met2
mirror_amp__bias_core_mi.add(gdstk.FlexPath([(2.42,22.36),(2.42,14),(-2.33,14),(-2.33,14.085),(-2.5,14.085)], 0.17, ends="flush", simple_path=True, layer=69, datatype=20))  # met2
mirror_amp__bias_core_mi.add(gdstk.FlexPath([(22.63,26.97),(23.5,26.97),(23.5,66),(74.42,66),(74.42,22.36)], 0.17, ends="flush", simple_path=True, layer=69, datatype=20))  # met2
mirror_amp__bias_core_mi.add(gdstk.FlexPath([(22.63,26.97),(23.5,26.97),(23.5,68),(-6.415,68),(-6.415,10.5)], 0.17, ends="flush", simple_path=True, layer=69, datatype=20))  # met2
mirror_amp__bias_core_mi.add(gdstk.FlexPath([(85.63,30.97),(88.9,30.97),(88.9,2),(87.63,2)], 0.17, ends="flush", simple_path=True, layer=69, datatype=20))  # met2
mirror_amp__bias_core_mi.add(gdstk.FlexPath([(42.42,8.61),(42.42,12),(-2.33,12),(-2.33,12.085),(-2.5,12.085)], 0.17, ends="flush", simple_path=True, layer=69, datatype=20))  # met2
mirror_amp__bias_core_mi.add(gdstk.Reference(stub_na__promo_stub_v, (-6.5,9)))
mirror_amp__bias_core_mi.add(gdstk.Reference(stub_n2__promo_stub, (-4,12)))
mirror_amp__bias_core_mi.add(gdstk.Reference(stub_pb__promo_stub, (-4,18)))
mirror_amp__bias_core_mi.add(gdstk.Reference(stub_pg__promo_stub, (-4,14)))
mirror_amp__bias_core_mi.add(gdstk.Reference(stub_vss__promo_stub, (-4,-6)))
mirror_amp__bias_core_mi.add(gdstk.Reference(stub_vdd__promo_stub, (-4,65)))
mirror_amp__bias_core_mi.add(gdstk.Reference(pst__pst, (55,0)))
mirror_amp__bias_core_mi.add(gdstk.Reference(nwt_mi2__nwt_mi2, (78.96,22.2)))
mirror_amp__bias_core_mi.add(gdstk.Reference(nwt_mi1__nwt_mi1, (69.96,22.2)))
mirror_amp__bias_core_mi.add(gdstk.Reference(nwt_mpt__nwt_mpt, (60.96,22.2)))
mirror_amp__bias_core_mi.add(gdstk.Reference(nwt_mpib__nwt_mpib, (51.96,22.2)))
mirror_amp__bias_core_mi.add(gdstk.Reference(nwt_mbp__nwt_mbp, (42.96,22.2)))
mirror_amp__bias_core_mi.add(gdstk.Reference(nwt_ms2p__nwt_ms2p, (33.96,22.2)))
mirror_amp__bias_core_mi.add(gdstk.Reference(nwt_mpbn__nwt_mpbn, (24.96,22.2)))
mirror_amp__bias_core_mi.add(gdstk.Reference(nwt_mp1__nwt_mp1, (15.96,22.2)))
mirror_amp__bias_core_mi.add(gdstk.Reference(nwt_mp3__nwt_mp3, (6.96,22.2)))
mirror_amp__bias_core_mi.add(gdstk.Reference(nwt_mp2__nwt_mp2, (-2.04,22.2)))
mirror_amp__bias_core_mi.add(gdstk.Reference(ml2__ml2_nfet, (79,0)))
mirror_amp__bias_core_mi.add(gdstk.Reference(ml1__ml1_nfet, (68,0)))
mirror_amp__bias_core_mi.add(gdstk.Reference(ms2n__ms2n_nfet, (38,0)))
mirror_amp__bias_core_mi.add(gdstk.Reference(mbn2__mbn2_nfet, (31,0)))
mirror_amp__bias_core_mi.add(gdstk.Reference(mbn__mbn_nfet, (24,0)))
mirror_amp__bias_core_mi.add(gdstk.Reference(mi2__mi2_pfet, (81,38.97), x_reflection=True))
mirror_amp__bias_core_mi.add(gdstk.Reference(mi1__mi1_pfet, (72,38.97), x_reflection=True))
mirror_amp__bias_core_mi.add(gdstk.Reference(mpt__mpt_pfet, (63,24.97), x_reflection=True))
mirror_amp__bias_core_mi.add(gdstk.Reference(mpib__mpib_pfet, (54,62.97), x_reflection=True))
mirror_amp__bias_core_mi.add(gdstk.Reference(mbp__mbp_pfet, (45,24.97), x_reflection=True))
mirror_amp__bias_core_mi.add(gdstk.Reference(ms2p__ms2p_pfet, (36,24.97), x_reflection=True))
mirror_amp__bias_core_mi.add(gdstk.Reference(mpbn__mpbn_pfet, (27,24.97), x_reflection=True))
mirror_amp__bias_core_mi.add(gdstk.Reference(mp1__mp1_pfet, (18,30.97), x_reflection=True))
mirror_amp__bias_core_mi.add(gdstk.Reference(mp3__mp3_pfet, (9,30.97), x_reflection=True))
mirror_amp__bias_core_mi.add(gdstk.Reference(mp2__mp2_pfet, (0,30.97), x_reflection=True))
mirror_amp__bias_core_mi.add(gdstk.Label('vdd', (-1.12,64.095), layer=68, texttype=5))
mirror_amp__bias_core_mi.add(gdstk.Label('vss', (27.71,-6), layer=68, texttype=5))
mirror_amp__bias_core_mi.add(gdstk.Label('pb', (36.9,11.805), layer=68, texttype=5))
mirror_amp__bias_core_mi.add(gdstk.Label('pg', (6.92,14), layer=69, texttype=5))
mirror_amp__bias_core_mi.add(gdstk.Label('na', (50.83,66), layer=69, texttype=5))
mirror_amp__bias_core_mi.add(gdstk.Label('n2', (88.9,17.485), layer=69, texttype=5))
mirror_amp__bias_core_mi.add(gdstk.Label('nbg', (32.9,13.665), layer=67, texttype=5))
mirror_amp__bias_core_mi.add(gdstk.Label('nt', (68.9,28.49), layer=67, texttype=5))
mirror_amp__bias_core_mi.add(gdstk.Label('n1', (77.9,16.485), layer=67, texttype=5))
mirror_amp__bias_core_mi.add(gdstk.Label('nbtop', (4.63,26.97), layer=67, texttype=5))
mirror_amp__bias_core_mi.add(gdstk.Label('vref', (13.63,26.97), layer=67, texttype=5))
mirror_amp__bias_core_mi.add(gdstk.Label('ibias', (58.63,42.97), layer=67, texttype=5))
mirror_amp__bias_core_mi.add(gdstk.Label('nb', (83.42,22.36), layer=67, texttype=5))
mirror_amp__bias_core_mi.add(gdstk.Label('vdd', (-4,65.085), layer=67, texttype=5))
mirror_amp__bias_core_mi.add(gdstk.Label('vss', (-4,-5.915), layer=67, texttype=5))
mirror_amp__bias_core_mi.add(gdstk.Label('pg', (-4,14.085), layer=67, texttype=5))
mirror_amp__bias_core_mi.add(gdstk.Label('pb', (-4,18.085), layer=67, texttype=5))
mirror_amp__bias_core_mi.add(gdstk.Label('n2', (-4,12.085), layer=67, texttype=5))
mirror_amp__bias_core_mi.add(gdstk.Label('na', (-6.415,9), layer=67, texttype=5))

lib.write_gds('mirror_amp__bias_core_mirror_amp.gds')
